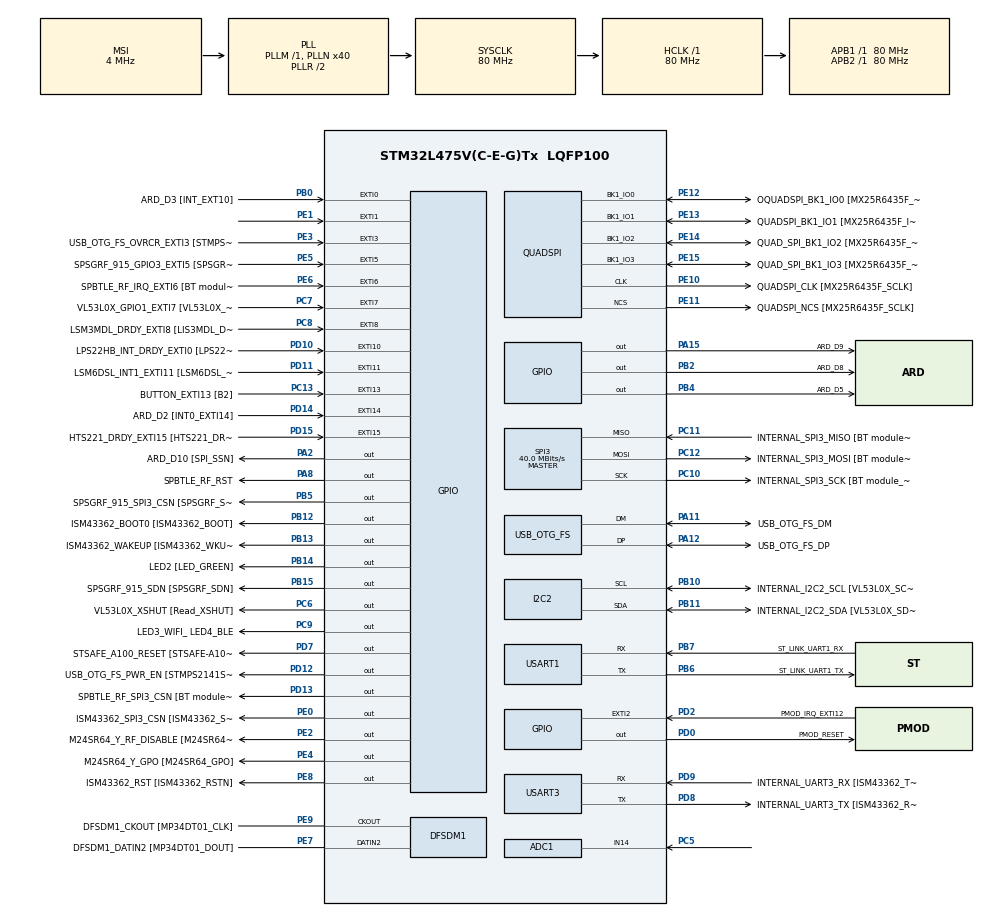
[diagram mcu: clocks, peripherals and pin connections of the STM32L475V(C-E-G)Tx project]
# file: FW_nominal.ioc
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ADC1.Channel-0\#ChannelRegularConversion=ADC_CHANNEL_14
ADC1.NbrOfConversionFlag=1
ADC1.OffsetNumber-0\#ChannelRegularConversion=ADC_OFFSET_NONE
ADC1.Rank-0\#ChannelRegularConversion=1
ADC1.SamplingTime-0\#ChannelRegularConversion=ADC_SAMPLETIME_2CYCLES_5
ADC1.master=1
Mcu.Family=STM32L4
Mcu.Name=STM32L475V(C-E-G)Tx
Mcu.Package=LQFP100
NVIC.EXTI1_IRQn=true\:0\:0\:false\:false\:true\:true\:true\:true
NVIC.PriorityGroup=NVIC_PRIORITYGROUP_4
NVIC.SPI3_IRQn=true\:0\:0\:false\:false\:true\:true\:true\:true
PA0.GPIO_Label=ARD_D1 [UART4_TX]
PA0.Signal=UART4_TX
PA1.GPIO_Label=ARD_D0 [UART4_RX]
PA1.Signal=UART4_RX
PA10.GPIO_Label=USB_OTG_FS_ID
PA10.Signal=USB_OTG_FS_ID
PA11.GPIO_Label=USB_OTG_FS_DM
PA11.Mode=Device_Only
PA11.Signal=USB_OTG_FS_DM
PA12.GPIO_Label=USB_OTG_FS_DP
PA12.Mode=Device_Only
PA12.Signal=USB_OTG_FS_DP
PA13\ (JTMS-SWDIO).GPIO_Label=SYS_JTMS_SWDIO
PA13\ (JTMS-SWDIO).Mode=Serial_Wire
PA13\ (JTMS-SWDIO).Signal=SYS_JTMS-SWDIO
PA14\ (JTCK-SWCLK).GPIO_Label=SYS_JTCK_SWCLK
PA14\ (JTCK-SWCLK).Mode=Serial_Wire
PA14\ (JTCK-SWCLK).Signal=SYS_JTCK-SWCLK
PA15\ (JTDI).GPIO_Label=ARD_D9
PA15\ (JTDI).Signal=GPIO_Output
PA2.GPIO_Label=ARD_D10 [SPI_SSN]
PA2.Signal=GPIO_Output
PA3.GPIO_Label=ARD_D4
PA3.Signal=S_TIM2_CH4
PA4.GPIO_Label=ARD_D7
PA4.Signal=ADCx_IN9
PA5.GPIO_Label=ARD_D13 [SPI1_SCK]
PA5.Signal=SPI1_SCK
PA6.GPIO_Label=ARD_D12 [SPI1_MISO]
PA6.Signal=SPI1_MISO
PA7.GPIO_Label=ARD_D11 [SPI1_MOSI]
PA7.Signal=SPI1_MOSI
PA8.GPIO_Label=SPBTLE_RF_RST
PA8.Signal=GPIO_Output
PA9.GPIO_Label=USB_OTG_FS_VBUS [STMPS2141STR_OUT]
PA9.Signal=USB_OTG_FS_VBUS
PB0.GPIO_Label=ARD_D3 [INT_EXT10]
PB0.Signal=GPXTI0
PB1.GPIO_Label=ARD_D6 [ADC1_IN6]
PB1.Signal=ADCx_IN16
PB10.GPIO_Label=INTERNAL_I2C2_SCL [VL53L0X_SCL]
PB10.GPIO_Pu=GPIO_PULLUP
PB10.Mode=I2C
PB10.Signal=I2C2_SCL
PB11.GPIO_Label=INTERNAL_I2C2_SDA [VL53L0X_SDA]
PB11.GPIO_Pu=GPIO_PULLUP
PB11.Mode=I2C
PB11.Signal=I2C2_SDA
PB12.GPIO_Label=ISM43362_BOOT0 [ISM43362_BOOT]
PB12.Signal=GPIO_Output
PB13.GPIO_Label=ISM43362_WAKEUP [ISM43362_WKUP]
PB13.Signal=GPIO_Output
PB14.GPIO_Label=LED2 [LED_GREEN]
PB14.Signal=GPIO_Output
PB15.GPIO_Label=SPSGRF_915_SDN [SPSGRF_SDN]
PB15.Signal=GPIO_Output
PB2.GPIO_Label=ARD_D8
PB2.Signal=GPIO_Output
PB3\ (JTDO-TRACESWO).GPIO_Label=SYS_JTD0_SWO
PB3\ (JTDO-TRACESWO).Signal=SYS_JTDO-SWO
PB4\ (NJTRST).GPIO_Label=ARD_D5
PB4\ (NJTRST).Signal=GPIO_Output
PB5.GPIO_Label=SPSGRF_915_SPI3_CSN [SPSGRF_SPI_CS]
PB5.PinState=GPIO_PIN_SET
PB5.Signal=GPIO_Output
PB6.GPIO_Label=ST_LINK_UART1_TX
PB6.Mode=Asynchronous
PB6.Signal=USART1_TX
PB7.GPIO_Label=ST_LINK_UART1_RX
PB7.Mode=Asynchronous
PB7.Signal=USART1_RX
PB8.GPIO_Label=ARD_D15 [I2C1_SCL]
PB8.Signal=I2C1_SCL
PB9.GPIO_Label=ARD_D14 [I2C1_SDA]
PB9.Signal=I2C1_SDA
PC0.GPIO_Label=ARD_A5 [ADC]
PC0.Signal=ADCx_IN1
PC1.GPIO_Label=ARD_A4 [ADC]
PC1.Signal=ADCx_IN2
PC10.GPIO_Label=INTERNAL_SPI3_SCK [BT module_SPI_SCLK] [ISM43362_SCK]
PC10.Mode=Full_Duplex_Master
PC10.Signal=SPI3_SCK
PC11.GPIO_Label=INTERNAL_SPI3_MISO [BT module_SPI_MISO] [ISM43362_MISO]
PC11.Mode=Full_Duplex_Master
PC11.Signal=SPI3_MISO
PC12.GPIO_Label=INTERNAL_SPI3_MOSI [BT module_SPI_MOSI] [ISM43362_MOSI]
PC12.Mode=Full_Duplex_Master
PC12.Signal=SPI3_MOSI
PC13.GPIO_Label=BUTTON_EXTI13 [B2]
PC13.GPIO_ModeDefaultEXTI=GPIO_MODE_IT_FALLING
PC13.Signal=GPXTI13
PC14-OSC32_IN\ (PC14).Mode=LSE-External-Oscillator
PC14-OSC32_IN\ (PC14).Signal=RCC_OSC32_IN
PC15-OSC32_OUT\ (PC15).Mode=LSE-External-Oscillator
PC15-OSC32_OUT\ (PC15).Signal=RCC_OSC32_OUT
PC2.GPIO_Label=ARD_A3 [ADC]
PC2.Signal=ADCx_IN3
PC3.GPIO_Label=ARD_A2 [ADC]
PC3.Signal=ADCx_IN4
PC4.GPIO_Label=ARD_A1 [ADC]
PC4.Signal=ADCx_IN13
PC5.Signal=ADCx_IN14
PC6.GPIO_Label=VL53L0X_XSHUT [Read_XSHUT]
PC6.Signal=GPIO_Output
PC7.GPIO_Label=VL53L0X_GPIO1_EXTI7 [VL53L0X_GPIO1]
PC7.Signal=GPXTI7
PC8.GPIO_Label=LSM3MDL_DRDY_EXTI8 [LIS3MDL_DRDY]
PC8.Signal=GPXTI8
PC9.GPIO_Label=LED3_WIFI_ LED4_BLE
PC9.Signal=GPIO_Output
PD0.GPIO_Label=PMOD_RESET
PD0.Signal=GPIO_Output
PD1.GPIO_Label=PMOD_SPI2_SCK
PD1.Signal=SPI2_SCK
PD10.GPIO_Label=LPS22HB_INT_DRDY_EXTI0 [LPS22HB_INT_DRDY] 
PD10.Signal=GPXTI10
PD11.GPIO_Label=LSM6DSL_INT1_EXTI11 [LSM6DSL_INT1]
PD11.Signal=GPXTI11
PD12.GPIO_Label=USB_OTG_FS_PWR_EN [STMPS2141STR_EN]
PD12.Signal=GPIO_Output
PD13.GPIO_Label=SPBTLE_RF_SPI3_CSN [BT module_SPI_CS]
PD13.PinState=GPIO_PIN_SET
PD13.Signal=GPIO_Output
PD14.GPIO_Label=ARD_D2 [INT0_EXTI14]
PD14.Signal=GPXTI14
PD15.GPIO_Label=HTS221_DRDY_EXTI15 [HTS221_DRDY]
PD15.Signal=GPXTI15
PD2.GPIO_Label=PMOD_IRQ_EXTI12
PD2.Signal=GPXTI2
PD3.GPIO_Label=PMOD_UART2_CTS
PD3.Signal=USART2_CTS
PD4.GPIO_Label=PMOD_UART2_RTS
PD4.Signal=USART2_RTS
PD5.GPIO_Label=PMOD_UART2_TX
PD5.Signal=USART2_TX
PD6.GPIO_Label=PMOD_UART2_RX
PD6.Signal=USART2_RX
PD7.GPIO_Label=STSAFE_A100_RESET [STSAFE-A100_RESET]
PD7.Signal=GPIO_Output
PD8.GPIO_Label=INTERNAL_UART3_TX [ISM43362_RX]
PD8.Mode=Asynchronous
PD8.Signal=USART3_TX
PD9.GPIO_Label=INTERNAL_UART3_RX [ISM43362_TX]
PD9.Mode=Asynchronous
PD9.Signal=USART3_RX
PE0.GPIO_Label=ISM43362_SPI3_CSN [ISM43362_SSN]
PE0.PinState=GPIO_PIN_SET
PE0.Signal=GPIO_Output
PE1.Signal=GPXTI1
PE10.GPIO_Label=QUADSPI_CLK [MX25R6435F_SCLK]
PE10.Mode=Single Bank
PE10.Signal=QUADSPI_CLK
PE11.GPIO_Label=QUADSPI_NCS [MX25R6435F_SCLK]
PE11.Mode=Single Bank
PE11.Signal=QUADSPI_NCS
PE12.GPIO_Label=OQUADSPI_BK1_IO0 [MX25R6435F_IO0]
PE12.Mode=Single Bank
PE12.Signal=QUADSPI_BK1_IO0
PE13.GPIO_Label=QUADSPI_BK1_IO1 [MX25R6435F_IO1]
PE13.Mode=Single Bank
PE13.Signal=QUADSPI_BK1_IO1
PE14.GPIO_Label=QUAD_SPI_BK1_IO2 [MX25R6435F_IO2]
PE14.Mode=Single Bank
PE14.Signal=QUADSPI_BK1_IO2
PE15.GPIO_Label=QUAD_SPI_BK1_IO3 [MX25R6435F_IO3]
PE15.Mode=Single Bank
PE15.Signal=QUADSPI_BK1_IO3
PE2.GPIO_Label=M24SR64_Y_RF_DISABLE [M24SR64_RFDIS]
PE2.Signal=GPIO_Output
PE3.GPIO_Label=USB_OTG_FS_OVRCR_EXTI3 [STMPS2141STR_FAULT]
PE3.Signal=GPXTI3
PE4.GPIO_Label=M24SR64_Y_GPO [M24SR64_GPO]
PE4.Signal=GPIO_Output
PE5.GPIO_Label=SPSGRF_915_GPIO3_EXTI5 [SPSGRF_GPIO_3]
PE5.Signal=GPXTI5
PE6.GPIO_Label=SPBTLE_RF_IRQ_EXTI6 [BT module_SPI_IRQ]
PE6.Signal=GPXTI6
PE7.GPIO_Label=DFSDM1_DATIN2 [MP34DT01_DOUT]
PE7.Signal=S_DATAIN2DFSDM1
PE8.GPIO_Label=ISM43362_RST [ISM43362_RSTN]
PE8.Signal=GPIO_Output
PE9.GPIO_Label=DFSDM1_CKOUT [MP34DT01_CLK]
PE9.Signal=S_CKOUTDFSDM1
ProjectManager.HeapSize=0x200
ProjectManager.StackSize=0x400
ProjectManager.TargetToolchain=STM32CubeIDE
QUADSPI.ClockPrescaler=2
QUADSPI.FifoThreshold=4
QUADSPI.FlashSize=23
QUADSPI.SampleShifting=QSPI_SAMPLE_SHIFTING_HALFCYCLE
RCC.ADCFreq_Value=48000000
RCC.AHBFreq_Value=80000000
RCC.APB1Freq_Value=80000000
RCC.APB1TimFreq_Value=80000000
RCC.APB2Freq_Value=80000000
RCC.APB2TimFreq_Value=80000000
RCC.CortexFreq_Value=80000000
RCC.HCLKFreq_Value=80000000
RCC.HSE_VALUE=8000000
RCC.HSI_VALUE=16000000
RCC.MSI_VALUE=4000000
RCC.PLLN=40
RCC.PLLSAI1N=24
RCC.SYSCLKFreq_VALUE=80000000
RCC.SYSCLKSource=RCC_SYSCLKSOURCE_PLLCLK
RCC.USBFreq_Value=48000000
RCC.VCOOutputFreq_Value=160000000
SH.ADCx_IN1.0=ADC1_IN1
SH.ADCx_IN13.0=ADC1_IN13
SH.ADCx_IN14.0=ADC1_IN14,IN14-Single-Ended
SH.ADCx_IN16.0=ADC1_IN16
SH.ADCx_IN2.0=ADC1_IN2
SH.ADCx_IN3.0=ADC1_IN3
SH.ADCx_IN4.0=ADC1_IN4
SH.ADCx_IN9.0=ADC1_IN9
SH.S_CKOUTDFSDM1.0=DFSDM1_CKOUT,CKOUT
SH.S_CKOUTDFSDM1.1=DFSDM1_CKOUT,PDM_SPI_Input_from_ch12_and_Internal_Clock
SH.S_DATAIN2DFSDM1.0=DFSDM1_DATIN2,PDM_SPI_Input_from_ch12_and_Internal_Clock
SH.S_TIM2_CH4.0=TIM2_CH4
SPI3.CalculateBaudRate=40.0 MBits/s
SPI3.Direction=SPI_DIRECTION_2LINES
SPI3.Mode=SPI_MODE_MASTER
SPI3.VirtualType=VM_MASTER
USART1.VirtualMode-Asynchronous=VM_ASYNC
USART3.VirtualMode-Asynchronous=VM_ASYNC
USB_OTG_FS.VirtualMode=Device_Only
board=B-L475E-IOT01A2

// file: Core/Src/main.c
/* USER CODE BEGIN Header */
/**
 ******************************************************************************
 * @file           : main.c
 * @brief          : Main program body
 ******************************************************************************
 */
/* USER CODE END Header */
#include "main.h"

/* USER CODE BEGIN Includes */
#include "stm32l475e_iot01.h"
#include "stm32l475e_iot01_tsensor.h"
#include "stm32l475e_iot01_hsensor.h"
#include "wifi.h"
#include <stdio.h>
#include <stdbool.h>
/* USER CODE END Includes */

/* USER CODE BEGIN PD */
/* --- Configuration Wi-Fi --- */
#define WIFI_SSID "joris"
#define WIFI_PASSWORD "jorisgenot"

/* --- Configuration Serveur TCP --- */
#define SERVER_IP_1 10
#define SERVER_IP_2 205
#define SERVER_IP_3 147
#define SERVER_IP_4 187
#define SERVER_PORT 8002

#define WIFI_WRITE_TIMEOUT 10000
#define WIFI_READ_TIMEOUT 10000
#define CONNECTION_TRIAL_MAX 10

#define TEMP_THRESHOLD_C 8.0f
#define TEMP_HYSTERESIS_C 1.0f

/* USER CODE END PD */

ADC_HandleTypeDef hadc1;

DFSDM_Channel_HandleTypeDef hdfsdm1_channel1;

I2C_HandleTypeDef hi2c2;

QSPI_HandleTypeDef hqspi;

SPI_HandleTypeDef hspi3;

UART_HandleTypeDef huart1;
UART_HandleTypeDef huart3;

PCD_HandleTypeDef hpcd_USB_OTG_FS;

/* USER CODE BEGIN PV */
uint8_t ServerIP[] = {SERVER_IP_1, SERVER_IP_2, SERVER_IP_3, SERVER_IP_4};
uint32_t TcpSocket = 0;
/* USER CODE END PV */

void SystemClock_Config(void);
void PeriphCommonClock_Config(void);
static void MX_GPIO_Init(void);
static void MX_DFSDM1_Init(void);
static void MX_I2C2_Init(void);
static void MX_QUADSPI_Init(void);
static void MX_SPI3_Init(void);
static void MX_USART1_UART_Init(void);
static void MX_USART3_UART_Init(void);
static void MX_USB_OTG_FS_PCD_Init(void);
static void MX_ADC1_Init(void);
/* USER CODE BEGIN PFP */
bool Connect_To_WiFi(void);
bool Connect_To_TCP_Server(void);

bool AI_Predict_Out_Of_Bounds(float temp, float hum);
static void Update_Alarm(float temperature);
/* USER CODE END PFP */

/* USER CODE BEGIN 0 */

/**
 * @brief  Connecte la carte au réseau Wi-Fi local
 * @retval true si succès, false si échec
 */
bool Connect_To_WiFi(void)
{
  uint8_t IP_Addr[4] = {0};
  uint8_t MAC_Addr[6] = {0};

  printf("\r\n--- Initialisation du module Wi-Fi ---\r\n");

  if (WIFI_Init() != WIFI_STATUS_OK)
  {
    printf("[ERREUR] Impossible d'initialiser le module Wi-Fi.\r\n");
    return false;
  }

  printf("[OK] Module Wi-Fi initialise.\r\n");

  if (WIFI_GetMAC_Address(MAC_Addr, sizeof(MAC_Addr)) == WIFI_STATUS_OK)
  {
    printf("> MAC Address : %02X:%02X:%02X:%02X:%02X:%02X\r\n",
           MAC_Addr[0], MAC_Addr[1], MAC_Addr[2], MAC_Addr[3], MAC_Addr[4], MAC_Addr[5]);
  }

  printf("> Connexion au reseau Wi-Fi '%s'...\r\n", WIFI_SSID);
  if (WIFI_Connect(WIFI_SSID, WIFI_PASSWORD, WIFI_ECN_WPA2_PSK) == WIFI_STATUS_OK)
  {
    if (WIFI_GetIP_Address(IP_Addr, sizeof(IP_Addr)) == WIFI_STATUS_OK)
    {
      printf("[OK] Connecte ! IP de la carte : %d.%d.%d.%d\r\n",
             IP_Addr[0], IP_Addr[1], IP_Addr[2], IP_Addr[3]);
      return true;
    }
  }

  printf("[ERREUR] Echec de la connexion Wi-Fi.\r\n");
  return false;
}

/**
 * @brief  Ouvre la connexion TCP vers le serveur Python
 * @retval true si succès, false si échec
 */
bool Connect_To_TCP_Server(void)
{
  int trials = CONNECTION_TRIAL_MAX;

  printf("\r\n> Tentative de connexion au Serveur TCP %d.%d.%d.%d:%d ...\r\n",
         ServerIP[0], ServerIP[1], ServerIP[2], ServerIP[3], SERVER_PORT);

  while (trials--)
  {
    if (WIFI_OpenClientConnection(TcpSocket, WIFI_TCP_PROTOCOL, "TCP_CLIENT", ServerIP, SERVER_PORT, 0) == WIFI_STATUS_OK)
    {
      printf("[OK] Connexion TCP etablie avec succes !\r\n");
      return true;
    }
    HAL_Delay(500); // Petite pause entre chaque tentative
  }

  printf("[ERREUR] Impossible de se connecter au serveur TCP.\r\n");
  return false;
}

/**
 * @brief Fonction fictive simulant la prédiction d'un modèle IA.
 *        Retourne true si l'IA prédit une sortie de seuils imminente.
 */
bool AI_Predict_Out_Of_Bounds(float temp, float hum)
{
  // TODO: Intégrer l'inférence du modèle IA ici.
  return false;
}

static void Update_Alarm(float temperature)
{
  static bool active = false;

  if (temperature > TEMP_THRESHOLD_C)
  {
    active = true;
  }
  else if (temperature <= TEMP_THRESHOLD_C - TEMP_HYSTERESIS_C)
  {
    active = false;
  }

  /* Son continu avec un buzzer actif externe ; LED allumee en meme temps. */
  HAL_GPIO_WritePin(GPIOB, LED2_Pin | ARD_D5_Pin,
                    active ? GPIO_PIN_SET : GPIO_PIN_RESET);
}
/* USER CODE END 0 */

int main(void)
{

  /* USER CODE BEGIN 1 */
  float temperature = 0;
  float humidity = 0;
  uint32_t adc_val = 0; // Ajout de la declaration manquante

  char TxData[128]; // Buffer pour le message a envoyer
  uint16_t Datalen;

  // Variables pour contourner l'absence de %f dans printf (flottants)
  int tmpInt1, tmpInt2;
  float tmpFrac;

  // --- Variables d'alertes ---
  uint8_t alert_door = 0; // 0 = Fermée, 1 = Ouverte
  uint8_t alert_temp = 0; // 0 = OK, 1 = Préventif (IA), 2 = Critique (Dépassement)
  /* USER CODE END 1 */

  /* MCU Configuration--------------------------------------------------------*/

  /* Reset of all peripherals, Initializes the Flash interface and the Systick. */
  HAL_Init();

  /* Configure the system clock */
  SystemClock_Config();

  /* Configure the peripherals common clocks */
  PeriphCommonClock_Config();

  /* Initialize all configured peripherals */
  MX_GPIO_Init();
  MX_DFSDM1_Init();
  MX_I2C2_Init();
  MX_QUADSPI_Init();
  MX_SPI3_Init();
  MX_USART1_UART_Init();
  MX_USART3_UART_Init();
  MX_USB_OTG_FS_PCD_Init();
  MX_ADC1_Init();
  /* USER CODE BEGIN 2 */
  printf("\r\n=======================================\r\n");
  printf("      Demarrage Systeme STM32 IoT      \r\n");
  printf("=======================================\r\n");

  /* Initialisation des capteurs environnementaux */
  BSP_TSENSOR_Init();
  BSP_HSENSOR_Init();
  printf("[OK] Capteurs initialises.\r\n");

  /* Connexion au Wi-Fi */
  while (!Connect_To_WiFi())
  {
    printf("Nouvelle tentative Wi-Fi dans 3 secondes...\r\n");
    HAL_Delay(3000);
  }

  /* Connexion au serveur TCP */
  Connect_To_TCP_Server();

  /* USER CODE END 2 */

  /* Infinite loop */
  /* USER CODE BEGIN WHILE */
  while (1)
  {
    /* 1. LECTURE DES CAPTEURS */
    temperature = BSP_TSENSOR_ReadTemp();
    humidity = BSP_HSENSOR_ReadHumidity();

    HAL_ADC_Start(&hadc1);
    if (HAL_ADC_PollForConversion(&hadc1, 100) == HAL_OK)
    {
      adc_val = HAL_ADC_GetValue(&hadc1);
    }

    /* 2. EVALUATION DES ALERTES - A implémenter une fois le modèle IA réaliser

    // Alerte Porte (Luminosité)
    if (adc_val < LUM_HIGH_THRESHOLD) {
        alert_door = 1; // Porte ouverte
    } else {
        alert_door = 0; // Porte fermée
    }

    // Alerte Température / Panne
    if (temperature > TEMP_MAX_THRESHOLD || temperature < TEMP_MIN_THRESHOLD) {
        alert_temp = 2; // ETAT CRITIQUE : Les seuils sont physiquement dépassés
    }
    else if (AI_Predict_Out_Of_Bounds(temperature, humidity)) {
        alert_temp = 1; // ETAT PREVENTIF : L'IA prédit un dépassement à venir
    }
    else {
        alert_temp = 0; // ETAT NORMAL
    } */

    uint32_t current_time_sec = (HAL_GetTick() / 1000) % 60;

    // --- Alerte Porte : ON pendant 30s, OFF pendant 30s ---
    if (current_time_sec < 30)
    {
      alert_door = 1; // ON (secondes 0 à 29)
    }
    else
    {
      alert_door = 0; // OFF (secondes 30 à 59)
    }

    // --- Alerte Température : Niv 1 (15s), Niv 2 (15s), OFF (30s) ---
    if (current_time_sec < 15)
    {
      alert_temp = 1; // Niveau 1 - Préventif (secondes 0 à 14)
    }
    else if (current_time_sec < 30)
    {
      alert_temp = 2; // Niveau 2 - Critique (secondes 15 à 29)
      Update_Alarm(20.0f)
    }
    else
    {
      alert_temp = 0; // OFF - Normal (secondes 30 à 59)
    }

    /* 3. AFFICHAGE UART (Console Locale) */
    tmpInt1 = (int)temperature;
    tmpFrac = temperature - tmpInt1;
    tmpInt2 = trunc(tmpFrac * 100);
    printf("\r\n[Capteurs] Temp: %d.%02d C | ", tmpInt1, tmpInt2);

    tmpInt1 = (int)humidity;
    tmpFrac = humidity - tmpInt1;
    tmpInt2 = trunc(tmpFrac * 100);
    printf("Hum: %d.%02d %% | ADC: %lu | Porte: %d | Alerte Temp: %d\r\n",
           tmpInt1, tmpInt2, adc_val, alert_door, alert_temp);

    /* 4. FORMATAGE DU MESSAGE POUR LE SERVEUR TCP */
    // Ajout des clés "alert_door" et "alert_temp" au JSON
    snprintf(TxData, sizeof(TxData),
             "{\"temp\": %d.%02d, \"hum\": %d.%02d, \"adc\": %lu, \"alert_door\": %d, \"alert_temp\": %d}\n",
             (int)temperature, (int)(fabs((temperature - (int)temperature)) * 100),
             (int)humidity, (int)(fabs((humidity - (int)humidity)) * 100),
             adc_val, alert_door, alert_temp);

    /* 5. ENVOI DES DONNEES VIA WI-FI */
    if (WIFI_SendData(TcpSocket, (uint8_t *)TxData, strlen(TxData), &Datalen, WIFI_WRITE_TIMEOUT) == WIFI_STATUS_OK)
    {
      printf(" -> [TCP] Message envoye avec succes (%d octets)\r\n", Datalen);
    }
    else
    {
      printf(" -> [TCP ERREUR] Echec de l'envoi. Tentative de reconnexion au serveur...\r\n");
      // Si le serveur a planté ou coupé la connexion, on la referme proprement et on retente
      WIFI_CloseClientConnection(TcpSocket);
      Connect_To_TCP_Server();
    }

    /* 6. PAUSE D'UNE SECONDE */
    HAL_Delay(1000);

    /* USER CODE END WHILE */

  }
}

void SystemClock_Config(void)
{
  RCC_OscInitTypeDef RCC_OscInitStruct = {0};
  RCC_ClkInitTypeDef RCC_ClkInitStruct = {0};

  /** Configure the main internal regulator output voltage
   */
  if (HAL_PWREx_ControlVoltageScaling(PWR_REGULATOR_VOLTAGE_SCALE1) != HAL_OK)
  {
    Error_Handler();
  }

  /** Configure LSE Drive Capability
   */
  HAL_PWR_EnableBkUpAccess();
  __HAL_RCC_LSEDRIVE_CONFIG(RCC_LSEDRIVE_LOW);

  /** Initializes the RCC Oscillators according to the specified parameters
   * in the RCC_OscInitTypeDef structure.
   */
  RCC_OscInitStruct.OscillatorType = RCC_OSCILLATORTYPE_LSE | RCC_OSCILLATORTYPE_MSI;
  RCC_OscInitStruct.LSEState = RCC_LSE_ON;
  RCC_OscInitStruct.MSIState = RCC_MSI_ON;
  RCC_OscInitStruct.MSICalibrationValue = 0;
  RCC_OscInitStruct.MSIClockRange = RCC_MSIRANGE_6;
  RCC_OscInitStruct.PLL.PLLState = RCC_PLL_ON;
  RCC_OscInitStruct.PLL.PLLSource = RCC_PLLSOURCE_MSI;
  RCC_OscInitStruct.PLL.PLLM = 1;
  RCC_OscInitStruct.PLL.PLLN = 40;
  RCC_OscInitStruct.PLL.PLLP = RCC_PLLP_DIV7;
  RCC_OscInitStruct.PLL.PLLQ = RCC_PLLQ_DIV2;
  RCC_OscInitStruct.PLL.PLLR = RCC_PLLR_DIV2;
  if (HAL_RCC_OscConfig(&RCC_OscInitStruct) != HAL_OK)
  {
    Error_Handler();
  }

  /** Initializes the CPU, AHB and APB buses clocks
   */
  RCC_ClkInitStruct.ClockType = RCC_CLOCKTYPE_HCLK | RCC_CLOCKTYPE_SYSCLK | RCC_CLOCKTYPE_PCLK1 | RCC_CLOCKTYPE_PCLK2;
  RCC_ClkInitStruct.SYSCLKSource = RCC_SYSCLKSOURCE_PLLCLK;
  RCC_ClkInitStruct.AHBCLKDivider = RCC_SYSCLK_DIV1;
  RCC_ClkInitStruct.APB1CLKDivider = RCC_HCLK_DIV1;
  RCC_ClkInitStruct.APB2CLKDivider = RCC_HCLK_DIV1;

  if (HAL_RCC_ClockConfig(&RCC_ClkInitStruct, FLASH_LATENCY_4) != HAL_OK)
  {
    Error_Handler();
  }

  /** Enable MSI Auto calibration
   */
  HAL_RCCEx_EnableMSIPLLMode();
}

void PeriphCommonClock_Config(void)
{
  RCC_PeriphCLKInitTypeDef PeriphClkInit = {0};

  /** Initializes the peripherals clock
   */
  PeriphClkInit.PeriphClockSelection = RCC_PERIPHCLK_USB | RCC_PERIPHCLK_ADC;
  PeriphClkInit.AdcClockSelection = RCC_ADCCLKSOURCE_PLLSAI1;
  PeriphClkInit.UsbClockSelection = RCC_USBCLKSOURCE_PLLSAI1;
  PeriphClkInit.PLLSAI1.PLLSAI1Source = RCC_PLLSOURCE_MSI;
  PeriphClkInit.PLLSAI1.PLLSAI1M = 1;
  PeriphClkInit.PLLSAI1.PLLSAI1N = 24;
  PeriphClkInit.PLLSAI1.PLLSAI1P = RCC_PLLP_DIV7;
  PeriphClkInit.PLLSAI1.PLLSAI1Q = RCC_PLLQ_DIV2;
  PeriphClkInit.PLLSAI1.PLLSAI1R = RCC_PLLR_DIV2;
  PeriphClkInit.PLLSAI1.PLLSAI1ClockOut = RCC_PLLSAI1_48M2CLK | RCC_PLLSAI1_ADC1CLK;
  if (HAL_RCCEx_PeriphCLKConfig(&PeriphClkInit) != HAL_OK)
  {
    Error_Handler();
  }
}

static void MX_ADC1_Init(void)
{

  ADC_MultiModeTypeDef multimode = {0};
  ADC_ChannelConfTypeDef sConfig = {0};

  /** Common config
   */
  hadc1.Instance = ADC1;
  hadc1.Init.ClockPrescaler = ADC_CLOCK_ASYNC_DIV1;
  hadc1.Init.Resolution = ADC_RESOLUTION_12B;
  hadc1.Init.DataAlign = ADC_DATAALIGN_RIGHT;
  hadc1.Init.ScanConvMode = ADC_SCAN_DISABLE;
  hadc1.Init.EOCSelection = ADC_EOC_SINGLE_CONV;
  hadc1.Init.LowPowerAutoWait = DISABLE;
  hadc1.Init.ContinuousConvMode = DISABLE;
  hadc1.Init.NbrOfConversion = 1;
  hadc1.Init.DiscontinuousConvMode = DISABLE;
  hadc1.Init.ExternalTrigConv = ADC_SOFTWARE_START;
  hadc1.Init.ExternalTrigConvEdge = ADC_EXTERNALTRIGCONVEDGE_NONE;
  hadc1.Init.DMAContinuousRequests = DISABLE;
  hadc1.Init.Overrun = ADC_OVR_DATA_PRESERVED;
  hadc1.Init.OversamplingMode = DISABLE;
  if (HAL_ADC_Init(&hadc1) != HAL_OK)
  {
    Error_Handler();
  }

  /** Configure the ADC multi-mode
   */
  multimode.Mode = ADC_MODE_INDEPENDENT;
  if (HAL_ADCEx_MultiModeConfigChannel(&hadc1, &multimode) != HAL_OK)
  {
    Error_Handler();
  }

  /** Configure Regular Channel
   */
  sConfig.Channel = ADC_CHANNEL_14;
  sConfig.Rank = ADC_REGULAR_RANK_1;
  sConfig.SamplingTime = ADC_SAMPLETIME_2CYCLES_5;
  sConfig.SingleDiff = ADC_SINGLE_ENDED;
  sConfig.OffsetNumber = ADC_OFFSET_NONE;
  sConfig.Offset = 0;
  if (HAL_ADC_ConfigChannel(&hadc1, &sConfig) != HAL_OK)
  {
    Error_Handler();
  }
}

static void MX_DFSDM1_Init(void)
{

  hdfsdm1_channel1.Instance = DFSDM1_Channel1;
  hdfsdm1_channel1.Init.OutputClock.Activation = ENABLE;
  hdfsdm1_channel1.Init.OutputClock.Selection = DFSDM_CHANNEL_OUTPUT_CLOCK_SYSTEM;
  hdfsdm1_channel1.Init.OutputClock.Divider = 2;
  hdfsdm1_channel1.Init.Input.Multiplexer = DFSDM_CHANNEL_EXTERNAL_INPUTS;
  hdfsdm1_channel1.Init.Input.DataPacking = DFSDM_CHANNEL_STANDARD_MODE;
  hdfsdm1_channel1.Init.Input.Pins = DFSDM_CHANNEL_FOLLOWING_CHANNEL_PINS;
  hdfsdm1_channel1.Init.SerialInterface.Type = DFSDM_CHANNEL_SPI_RISING;
  hdfsdm1_channel1.Init.SerialInterface.SpiClock = DFSDM_CHANNEL_SPI_CLOCK_INTERNAL;
  hdfsdm1_channel1.Init.Awd.FilterOrder = DFSDM_CHANNEL_FASTSINC_ORDER;
  hdfsdm1_channel1.Init.Awd.Oversampling = 1;
  hdfsdm1_channel1.Init.Offset = 0;
  hdfsdm1_channel1.Init.RightBitShift = 0x00;
  if (HAL_DFSDM_ChannelInit(&hdfsdm1_channel1) != HAL_OK)
  {
    Error_Handler();
  }
}

static void MX_I2C2_Init(void)
{

  hi2c2.Instance = I2C2;
  hi2c2.Init.Timing = 0x00000E14;
  hi2c2.Init.OwnAddress1 = 0;
  hi2c2.Init.AddressingMode = I2C_ADDRESSINGMODE_7BIT;
  hi2c2.Init.DualAddressMode = I2C_DUALADDRESS_DISABLE;
  hi2c2.Init.OwnAddress2 = 0;
  hi2c2.Init.OwnAddress2Masks = I2C_OA2_NOMASK;
  hi2c2.Init.GeneralCallMode = I2C_GENERALCALL_DISABLE;
  hi2c2.Init.NoStretchMode = I2C_NOSTRETCH_DISABLE;
  if (HAL_I2C_Init(&hi2c2) != HAL_OK)
  {
    Error_Handler();
  }

  /** Configure Analogue filter
   */
  if (HAL_I2CEx_ConfigAnalogFilter(&hi2c2, I2C_ANALOGFILTER_ENABLE) != HAL_OK)
  {
    Error_Handler();
  }

  /** Configure Digital filter
   */
  if (HAL_I2CEx_ConfigDigitalFilter(&hi2c2, 0) != HAL_OK)
  {
    Error_Handler();
  }
}

static void MX_QUADSPI_Init(void)
{

  /* QUADSPI parameter configuration*/
  hqspi.Instance = QUADSPI;
  hqspi.Init.ClockPrescaler = 2;
  hqspi.Init.FifoThreshold = 4;
  hqspi.Init.SampleShifting = QSPI_SAMPLE_SHIFTING_HALFCYCLE;
  hqspi.Init.FlashSize = 23;
  hqspi.Init.ChipSelectHighTime = QSPI_CS_HIGH_TIME_1_CYCLE;
  hqspi.Init.ClockMode = QSPI_CLOCK_MODE_0;
  if (HAL_QSPI_Init(&hqspi) != HAL_OK)
  {
    Error_Handler();
  }
}

static void MX_SPI3_Init(void)
{

  /* SPI3 parameter configuration*/
  hspi3.Instance = SPI3;
  hspi3.Init.Mode = SPI_MODE_MASTER;
  hspi3.Init.Direction = SPI_DIRECTION_2LINES;
  hspi3.Init.DataSize = SPI_DATASIZE_4BIT;
  hspi3.Init.CLKPolarity = SPI_POLARITY_LOW;
  hspi3.Init.CLKPhase = SPI_PHASE_1EDGE;
  hspi3.Init.NSS = SPI_NSS_SOFT;
  hspi3.Init.BaudRatePrescaler = SPI_BAUDRATEPRESCALER_2;
  hspi3.Init.FirstBit = SPI_FIRSTBIT_MSB;
  hspi3.Init.TIMode = SPI_TIMODE_DISABLE;
  hspi3.Init.CRCCalculation = SPI_CRCCALCULATION_DISABLE;
  hspi3.Init.CRCPolynomial = 7;
  hspi3.Init.CRCLength = SPI_CRC_LENGTH_DATASIZE;
  hspi3.Init.NSSPMode = SPI_NSS_PULSE_ENABLE;
  if (HAL_SPI_Init(&hspi3) != HAL_OK)
  {
    Error_Handler();
  }
}

static void MX_USART1_UART_Init(void)
{

  huart1.Instance = USART1;
  huart1.Init.BaudRate = 115200;
  huart1.Init.WordLength = UART_WORDLENGTH_8B;
  huart1.Init.StopBits = UART_STOPBITS_1;
  huart1.Init.Parity = UART_PARITY_NONE;
  huart1.Init.Mode = UART_MODE_TX_RX;
  huart1.Init.HwFlowCtl = UART_HWCONTROL_NONE;
  huart1.Init.OverSampling = UART_OVERSAMPLING_16;
  huart1.Init.OneBitSampling = UART_ONE_BIT_SAMPLE_DISABLE;
  huart1.AdvancedInit.AdvFeatureInit = UART_ADVFEATURE_NO_INIT;
  if (HAL_UART_Init(&huart1) != HAL_OK)
  {
    Error_Handler();
  }
}

static void MX_USART3_UART_Init(void)
{

  huart3.Instance = USART3;
  huart3.Init.BaudRate = 115200;
  huart3.Init.WordLength = UART_WORDLENGTH_8B;
  huart3.Init.StopBits = UART_STOPBITS_1;
  huart3.Init.Parity = UART_PARITY_NONE;
  huart3.Init.Mode = UART_MODE_TX_RX;
  huart3.Init.HwFlowCtl = UART_HWCONTROL_NONE;
  huart3.Init.OverSampling = UART_OVERSAMPLING_16;
  huart3.Init.OneBitSampling = UART_ONE_BIT_SAMPLE_DISABLE;
  huart3.AdvancedInit.AdvFeatureInit = UART_ADVFEATURE_NO_INIT;
  if (HAL_UART_Init(&huart3) != HAL_OK)
  {
    Error_Handler();
  }
}

static void MX_USB_OTG_FS_PCD_Init(void)
{

  hpcd_USB_OTG_FS.Instance = USB_OTG_FS;
  hpcd_USB_OTG_FS.Init.dev_endpoints = 6;
  hpcd_USB_OTG_FS.Init.speed = PCD_SPEED_FULL;
  hpcd_USB_OTG_FS.Init.phy_itface = PCD_PHY_EMBEDDED;
  hpcd_USB_OTG_FS.Init.Sof_enable = DISABLE;
  hpcd_USB_OTG_FS.Init.low_power_enable = DISABLE;
  hpcd_USB_OTG_FS.Init.lpm_enable = DISABLE;
  hpcd_USB_OTG_FS.Init.battery_charging_enable = DISABLE;
  hpcd_USB_OTG_FS.Init.use_dedicated_ep1 = DISABLE;
  hpcd_USB_OTG_FS.Init.vbus_sensing_enable = DISABLE;
  if (HAL_PCD_Init(&hpcd_USB_OTG_FS) != HAL_OK)
  {
    Error_Handler();
  }
}

static void MX_GPIO_Init(void)
{
  GPIO_InitTypeDef GPIO_InitStruct = {0};

  /* GPIO Ports Clock Enable */
  __HAL_RCC_GPIOE_CLK_ENABLE();
  __HAL_RCC_GPIOC_CLK_ENABLE();
  __HAL_RCC_GPIOA_CLK_ENABLE();
  __HAL_RCC_GPIOB_CLK_ENABLE();
  __HAL_RCC_GPIOD_CLK_ENABLE();

  /*Configure GPIO pin Output Level */
  HAL_GPIO_WritePin(GPIOE, M24SR64_Y_RF_DISABLE_Pin | M24SR64_Y_GPO_Pin | ISM43362_RST_Pin, GPIO_PIN_RESET);

  /*Configure GPIO pin Output Level */
  HAL_GPIO_WritePin(GPIOA, ARD_D10_Pin | SPBTLE_RF_RST_Pin | ARD_D9_Pin, GPIO_PIN_RESET);

  /*Configure GPIO pin Output Level */
  HAL_GPIO_WritePin(GPIOB, ARD_D8_Pin | ISM43362_BOOT0_Pin | ISM43362_WAKEUP_Pin | LED2_Pin | SPSGRF_915_SDN_Pin | ARD_D5_Pin, GPIO_PIN_RESET);

  /*Configure GPIO pin Output Level */
  HAL_GPIO_WritePin(GPIOD, USB_OTG_FS_PWR_EN_Pin | PMOD_RESET_Pin | STSAFE_A100_RESET_Pin, GPIO_PIN_RESET);

  /*Configure GPIO pin Output Level */
  HAL_GPIO_WritePin(SPBTLE_RF_SPI3_CSN_GPIO_Port, SPBTLE_RF_SPI3_CSN_Pin, GPIO_PIN_SET);

  /*Configure GPIO pin Output Level */
  HAL_GPIO_WritePin(GPIOC, VL53L0X_XSHUT_Pin | LED3_WIFI__LED4_BLE_Pin, GPIO_PIN_RESET);

  /*Configure GPIO pin Output Level */
  HAL_GPIO_WritePin(SPSGRF_915_SPI3_CSN_GPIO_Port, SPSGRF_915_SPI3_CSN_Pin, GPIO_PIN_SET);

  /*Configure GPIO pin Output Level */
  HAL_GPIO_WritePin(ISM43362_SPI3_CSN_GPIO_Port, ISM43362_SPI3_CSN_Pin, GPIO_PIN_SET);

  /*Configure GPIO pins : M24SR64_Y_RF_DISABLE_Pin M24SR64_Y_GPO_Pin ISM43362_RST_Pin ISM43362_SPI3_CSN_Pin */
  GPIO_InitStruct.Pin = M24SR64_Y_RF_DISABLE_Pin | M24SR64_Y_GPO_Pin | ISM43362_RST_Pin | ISM43362_SPI3_CSN_Pin;
  GPIO_InitStruct.Mode = GPIO_MODE_OUTPUT_PP;
  GPIO_InitStruct.Pull = GPIO_NOPULL;
  GPIO_InitStruct.Speed = GPIO_SPEED_FREQ_LOW;
  HAL_GPIO_Init(GPIOE, &GPIO_InitStruct);

  /*Configure GPIO pins : USB_OTG_FS_OVRCR_EXTI3_Pin SPSGRF_915_GPIO3_EXTI5_Pin SPBTLE_RF_IRQ_EXTI6_Pin PE1 */
  GPIO_InitStruct.Pin = USB_OTG_FS_OVRCR_EXTI3_Pin | SPSGRF_915_GPIO3_EXTI5_Pin | SPBTLE_RF_IRQ_EXTI6_Pin | GPIO_PIN_1;
  GPIO_InitStruct.Mode = GPIO_MODE_IT_RISING;
  GPIO_InitStruct.Pull = GPIO_NOPULL;
  HAL_GPIO_Init(GPIOE, &GPIO_InitStruct);

  /*Configure GPIO pin : BUTTON_EXTI13_Pin */
  GPIO_InitStruct.Pin = BUTTON_EXTI13_Pin;
  GPIO_InitStruct.Mode = GPIO_MODE_IT_FALLING;
  GPIO_InitStruct.Pull = GPIO_NOPULL;
  HAL_GPIO_Init(BUTTON_EXTI13_GPIO_Port, &GPIO_InitStruct);

  /*Configure GPIO pins : ARD_D1_Pin ARD_D0_Pin */
  GPIO_InitStruct.Pin = ARD_D1_Pin | ARD_D0_Pin;
  GPIO_InitStruct.Mode = GPIO_MODE_AF_PP;
  GPIO_InitStruct.Pull = GPIO_NOPULL;
  GPIO_InitStruct.Speed = GPIO_SPEED_FREQ_VERY_HIGH;
  GPIO_InitStruct.Alternate = GPIO_AF8_UART4;
  HAL_GPIO_Init(GPIOA, &GPIO_InitStruct);

  /*Configure GPIO pins : ARD_D10_Pin SPBTLE_RF_RST_Pin ARD_D9_Pin */
  GPIO_InitStruct.Pin = ARD_D10_Pin | SPBTLE_RF_RST_Pin | ARD_D9_Pin;
  GPIO_InitStruct.Mode = GPIO_MODE_OUTPUT_PP;
  GPIO_InitStruct.Pull = GPIO_NOPULL;
  GPIO_InitStruct.Speed = GPIO_SPEED_FREQ_LOW;
  HAL_GPIO_Init(GPIOA, &GPIO_InitStruct);

  /*Configure GPIO pin : ARD_D4_Pin */
  GPIO_InitStruct.Pin = ARD_D4_Pin;
  GPIO_InitStruct.Mode = GPIO_MODE_AF_PP;
  GPIO_InitStruct.Pull = GPIO_NOPULL;
  GPIO_InitStruct.Speed = GPIO_SPEED_FREQ_LOW;
  GPIO_InitStruct.Alternate = GPIO_AF1_TIM2;
  HAL_GPIO_Init(ARD_D4_GPIO_Port, &GPIO_InitStruct);

  /*Configure GPIO pins : ARD_D13_Pin ARD_D12_Pin ARD_D11_Pin */
  GPIO_InitStruct.Pin = ARD_D13_Pin | ARD_D12_Pin | ARD_D11_Pin;
  GPIO_InitStruct.Mode = GPIO_MODE_AF_PP;
  GPIO_InitStruct.Pull = GPIO_NOPULL;
  GPIO_InitStruct.Speed = GPIO_SPEED_FREQ_VERY_HIGH;
  GPIO_InitStruct.Alternate = GPIO_AF5_SPI1;
  HAL_GPIO_Init(GPIOA, &GPIO_InitStruct);

  /*Configure GPIO pin : ARD_D3_Pin */
  GPIO_InitStruct.Pin = ARD_D3_Pin;
  GPIO_InitStruct.Mode = GPIO_MODE_IT_RISING;
  GPIO_InitStruct.Pull = GPIO_NOPULL;
  HAL_GPIO_Init(ARD_D3_GPIO_Port, &GPIO_InitStruct);

  /*Configure GPIO pins : ARD_D8_Pin ISM43362_BOOT0_Pin ISM43362_WAKEUP_Pin LED2_Pin
                           SPSGRF_915_SDN_Pin ARD_D5_Pin SPSGRF_915_SPI3_CSN_Pin */
  GPIO_InitStruct.Pin = ARD_D8_Pin | ISM43362_BOOT0_Pin | ISM43362_WAKEUP_Pin | LED2_Pin | SPSGRF_915_SDN_Pin | ARD_D5_Pin | SPSGRF_915_SPI3_CSN_Pin;
  GPIO_InitStruct.Mode = GPIO_MODE_OUTPUT_PP;
  GPIO_InitStruct.Pull = GPIO_NOPULL;
  GPIO_InitStruct.Speed = GPIO_SPEED_FREQ_LOW;
  HAL_GPIO_Init(GPIOB, &GPIO_InitStruct);

  /*Configure GPIO pins : LPS22HB_INT_DRDY_EXTI0_Pin LSM6DSL_INT1_EXTI11_Pin ARD_D2_Pin HTS221_DRDY_EXTI15_Pin
                           PMOD_IRQ_EXTI12_Pin */
  GPIO_InitStruct.Pin = LPS22HB_INT_DRDY_EXTI0_Pin | LSM6DSL_INT1_EXTI11_Pin | ARD_D2_Pin | HTS221_DRDY_EXTI15_Pin | PMOD_IRQ_EXTI12_Pin;
  GPIO_InitStruct.Mode = GPIO_MODE_IT_RISING;
  GPIO_InitStruct.Pull = GPIO_NOPULL;
  HAL_GPIO_Init(GPIOD, &GPIO_InitStruct);

  /*Configure GPIO pins : USB_OTG_FS_PWR_EN_Pin SPBTLE_RF_SPI3_CSN_Pin PMOD_RESET_Pin STSAFE_A100_RESET_Pin */
  GPIO_InitStruct.Pin = USB_OTG_FS_PWR_EN_Pin | SPBTLE_RF_SPI3_CSN_Pin | PMOD_RESET_Pin | STSAFE_A100_RESET_Pin;
  GPIO_InitStruct.Mode = GPIO_MODE_OUTPUT_PP;
  GPIO_InitStruct.Pull = GPIO_NOPULL;
  GPIO_InitStruct.Speed = GPIO_SPEED_FREQ_LOW;
  HAL_GPIO_Init(GPIOD, &GPIO_InitStruct);

  /*Configure GPIO pins : VL53L0X_XSHUT_Pin LED3_WIFI__LED4_BLE_Pin */
  GPIO_InitStruct.Pin = VL53L0X_XSHUT_Pin | LED3_WIFI__LED4_BLE_Pin;
  GPIO_InitStruct.Mode = GPIO_MODE_OUTPUT_PP;
  GPIO_InitStruct.Pull = GPIO_NOPULL;
  GPIO_InitStruct.Speed = GPIO_SPEED_FREQ_LOW;
  HAL_GPIO_Init(GPIOC, &GPIO_InitStruct);

  /*Configure GPIO pins : VL53L0X_GPIO1_EXTI7_Pin LSM3MDL_DRDY_EXTI8_Pin */
  GPIO_InitStruct.Pin = VL53L0X_GPIO1_EXTI7_Pin | LSM3MDL_DRDY_EXTI8_Pin;
  GPIO_InitStruct.Mode = GPIO_MODE_IT_RISING;
  GPIO_InitStruct.Pull = GPIO_NOPULL;
  HAL_GPIO_Init(GPIOC, &GPIO_InitStruct);

  /*Configure GPIO pin : PMOD_SPI2_SCK_Pin */
  GPIO_InitStruct.Pin = PMOD_SPI2_SCK_Pin;
  GPIO_InitStruct.Mode = GPIO_MODE_AF_PP;
  GPIO_InitStruct.Pull = GPIO_NOPULL;
  GPIO_InitStruct.Speed = GPIO_SPEED_FREQ_VERY_HIGH;
  GPIO_InitStruct.Alternate = GPIO_AF5_SPI2;
  HAL_GPIO_Init(PMOD_SPI2_SCK_GPIO_Port, &GPIO_InitStruct);

  /*Configure GPIO pins : PMOD_UART2_CTS_Pin PMOD_UART2_RTS_Pin PMOD_UART2_TX_Pin PMOD_UART2_RX_Pin */
  GPIO_InitStruct.Pin = PMOD_UART2_CTS_Pin | PMOD_UART2_RTS_Pin | PMOD_UART2_TX_Pin | PMOD_UART2_RX_Pin;
  GPIO_InitStruct.Mode = GPIO_MODE_AF_PP;
  GPIO_InitStruct.Pull = GPIO_NOPULL;
  GPIO_InitStruct.Speed = GPIO_SPEED_FREQ_VERY_HIGH;
  GPIO_InitStruct.Alternate = GPIO_AF7_USART2;
  HAL_GPIO_Init(GPIOD, &GPIO_InitStruct);

  /*Configure GPIO pins : ARD_D15_Pin ARD_D14_Pin */
  GPIO_InitStruct.Pin = ARD_D15_Pin | ARD_D14_Pin;
  GPIO_InitStruct.Mode = GPIO_MODE_AF_OD;
  GPIO_InitStruct.Pull = GPIO_NOPULL;
  GPIO_InitStruct.Speed = GPIO_SPEED_FREQ_VERY_HIGH;
  GPIO_InitStruct.Alternate = GPIO_AF4_I2C1;
  HAL_GPIO_Init(GPIOB, &GPIO_InitStruct);

  /* EXTI interrupt init*/
  HAL_NVIC_SetPriority(EXTI1_IRQn, 0, 0);
  HAL_NVIC_EnableIRQ(EXTI1_IRQn);

}

/* USER CODE BEGIN 4 */
/**
 * @brief Redirige les appels a printf() vers le port UART1 (ST-LINK USB)
 */

void HAL_GPIO_EXTI_Callback(uint16_t GPIO_Pin)
{
  switch (GPIO_Pin)
  {
  case (GPIO_PIN_1):
  {
    SPI_WIFI_ISR();
    break;
  }
  default:
  {
    break;
  }
  }
}

int __io_putchar(int ch)
{
  HAL_UART_Transmit(&huart1, (uint8_t *)&ch, 1, HAL_MAX_DELAY);
  return ch;
}
/* USER CODE END 4 */

void Error_Handler(void)
{
  __disable_irq();
  while (1)
  {
  }
}
